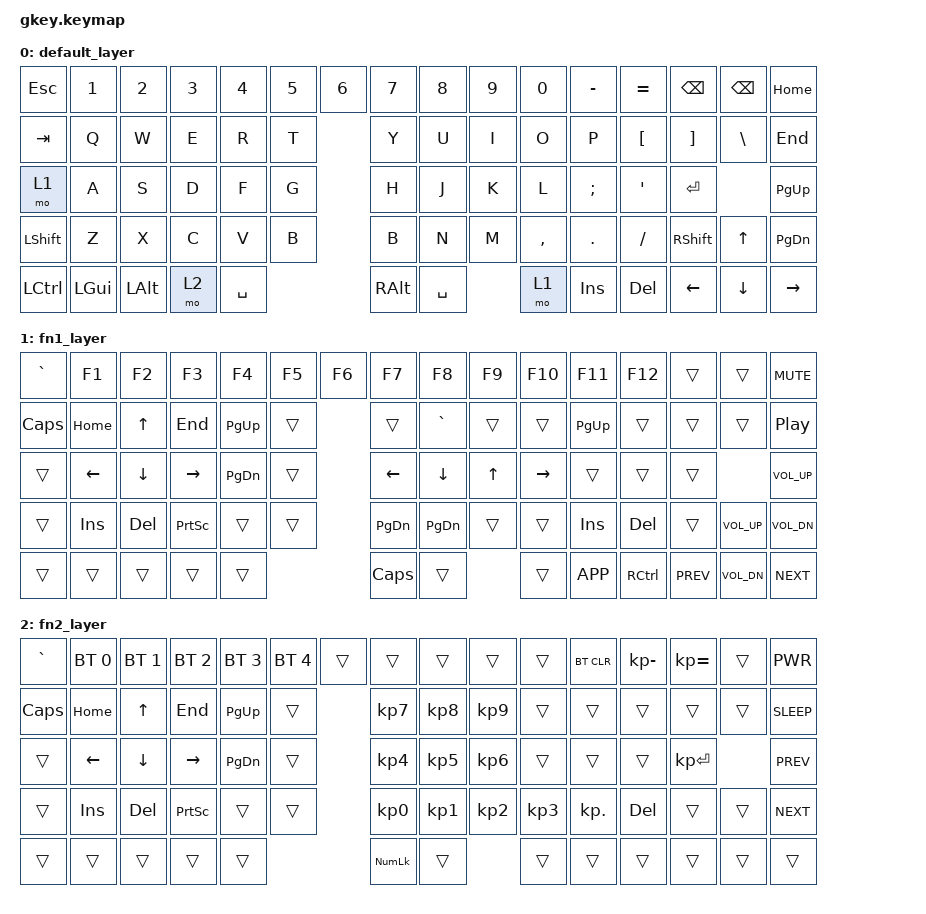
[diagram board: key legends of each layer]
#include <behaviors.dtsi>
#include <dt-bindings/zmk/keys.h>
#include <dt-bindings/zmk/bt.h>

/ {
    keymap {
        compatible = "zmk,keymap";

        default_layer {
            bindings = <
                &kp ESC   &kp N1   &kp N2    &kp N3   &kp N4   &kp N5   &kp N6      &kp N7   &kp N8    &kp N9    &kp N0    &kp MINUS &kp EQUAL &kp BSPC  &kp BSPC  &kp HOME
                &kp TAB   &kp Q    &kp W     &kp E    &kp R    &kp T                &kp Y    &kp U     &kp I     &kp O     &kp P     &kp LBKT  &kp RBKT  &kp BSLH  &kp END
                &mo 1     &kp A    &kp S     &kp D    &kp F    &kp G                &kp H    &kp J     &kp K     &kp L     &kp SEMI  &kp SQT   &kp RET             &kp PG_UP
                &kp LSHFT &kp Z    &kp X     &kp C    &kp V    &kp B                &kp B    &kp N     &kp M     &kp COMMA &kp DOT   &kp FSLH  &kp RSHFT &kp UP    &kp PG_DN
                &kp LCTRL &kp LGUI &kp LALT  &mo 2    &kp SPACE                     &kp RALT &kp SPACE           &mo 1     &kp INS   &kp DEL   &kp LEFT  &kp DOWN  &kp RIGHT
            >;
        };

        fn1_layer {
            bindings = <
                &kp GRAVE &kp F1   &kp F2    &kp F3    &kp F4    &kp F5   &kp F6      &kp F7    &kp F8    &kp F9   &kp F10  &kp F11   &kp F12   &trans    &trans    &kp C_MUTE
                &kp CAPS  &kp HOME &kp UP    &kp END   &kp PG_UP &trans               &trans    &kp GRAVE &trans   &trans   &kp PG_UP &trans    &trans    &trans    &kp C_PP
                &trans    &kp LEFT &kp DOWN  &kp RIGHT &kp PG_DN &trans               &kp LEFT  &kp DOWN  &kp UP   &kp RIGHT &trans   &trans    &trans              &kp C_VOL_UP
                &trans    &kp INS  &kp DEL   &kp PSCRN &trans    &trans               &kp PG_DN &kp PG_DN &trans   &trans   &kp INS   &kp DEL   &trans    &kp C_VOL_UP &kp C_VOL_DN
                &trans    &trans   &trans    &trans    &trans                         &kp CAPS  &trans              &trans   &kp K_APP &kp RCTRL &kp C_PREV &kp C_VOL_DN &kp C_NEXT
            >;
        };

        fn2_layer {
            bindings = <
                &kp GRAVE &bt BT_SEL 0 &bt BT_SEL 1 &bt BT_SEL 2 &bt BT_SEL 3 &bt BT_SEL 4 &trans      &trans &trans &trans &trans &bt BT_CLR &kp KP_MINUS &kp KP_EQUAL &trans &kp C_PWR
                &kp CAPS  &kp HOME  &kp UP    &kp END   &kp PG_UP &trans                &kp KP_N7 &kp KP_N8 &kp KP_N9 &trans    &trans    &trans       &trans       &trans &kp C_SLEEP
                &trans    &kp LEFT  &kp DOWN  &kp RIGHT &kp PG_DN &trans                &kp KP_N4 &kp KP_N5 &kp KP_N6 &trans    &trans    &trans       &kp KP_ENTER        &kp C_PREV
                &trans    &kp INS   &kp DEL   &kp PSCRN &trans    &trans                &kp KP_N0 &kp KP_N1 &kp KP_N2 &kp KP_N3 &kp KP_DOT &kp DEL     &trans       &trans &kp C_NEXT
                &trans    &trans    &trans    &trans    &trans                          &kp KP_NUM &trans              &trans    &trans    &trans       &trans       &trans &trans
            >;
        };
    };
};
